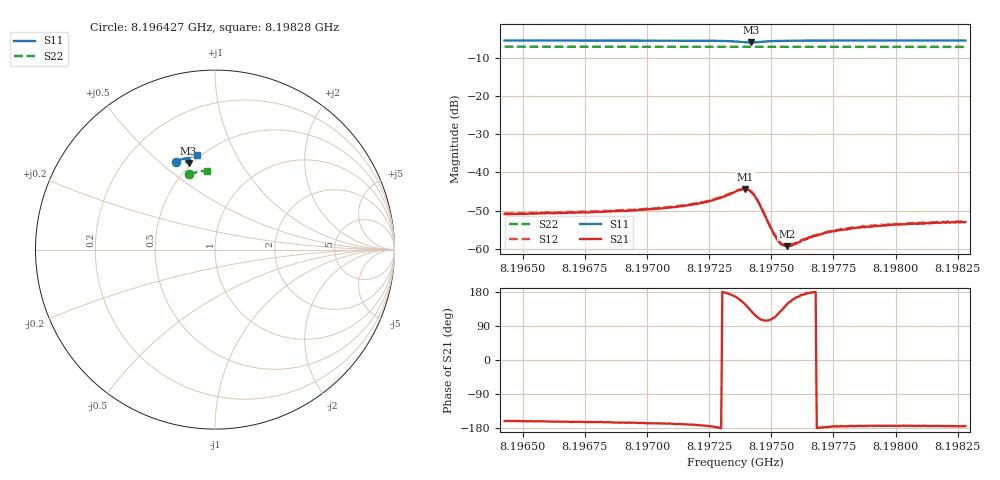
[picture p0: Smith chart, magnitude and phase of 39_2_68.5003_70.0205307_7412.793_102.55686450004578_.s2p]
#  HZ  S  RI  R  50.00
! Rohde & Schwarz Vector Network Analyzer
! Rohde-Schwarz,ZNB20-2Port,1311601062101988,3.16
! Created: UTC 3/20/2024, 4:50:15 PM
! freq[Hz]  re:S11  im:S11  re:S21  im:S21  re:S12  im:S12  re:S22  im:S22
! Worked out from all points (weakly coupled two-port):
!   401 points, 8.196427 GHz to 8.19828 GHz, reference 50 ohm
!   highest |S21| = -44.37 dB at 8.197396 GHz (marker M1); lowest = -59.3 dB at 8.197562 GHz (marker M2)
!   lowest |S11| = -5.9 dB at 8.197419 GHz (marker M3), VSWR 3.04, Z = 24 + j31.2 ohm
!   |S11| at or under -10 dB: nowhere
!   |S22| runs from -7.1 to -7.0 dB; largest |S21 - S12| = 0.0003
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8.1964273e9  -0.2189 0.4902  -0.0027 -0.000909  -0.00278 -0.000879  -0.1459 0.4203
8.1967377e9  -0.1977 0.4987  -0.00288 -0.000863  -0.00294 -0.00074  -0.1292 0.4252
8.1970481e9  -0.1746 0.5061  -0.00328 -0.000734  -0.0034 -0.000622  -0.1124 0.4296
8.1971547e9  -0.1655 0.5083  -0.0036 -0.000655  -0.00369 -0.000505  -0.1066 0.4308
8.1972334e9  -0.1575 0.5091  -0.00403 -0.000466  -0.00414 -0.000303  -0.1021 0.4318
8.197289e9  -0.1505 0.5082  -0.00457 -0.000127  -0.00466 9.34e-05  -0.0989 0.4324
8.1973539e9  -0.1404 0.5016  -0.00545 0.00117  -0.00549 0.00147  -0.0952 0.4327
8.197377e9  -0.1383 0.4953  -0.00546 0.00227  -0.00546 0.00256  -0.0939 0.4328
8.1973956e9  -0.1396 0.4889  -0.00503 0.00336  -0.00494 0.00365  -0.093 0.4329
8.1974187e9  -0.1473 0.483  -0.0035 0.00428  -0.00337 0.00455  -0.0919 0.4329
8.1974326e9  -0.1532 0.4832  -0.00245 0.00431  -0.00231 0.00443  -0.0914 0.4331
8.1974465e9  -0.158 0.4857  -0.00154 0.00389  -0.00143 0.00396  -0.0908 0.4334
8.1974975e9  -0.1613 0.4996  -0.000548 0.0018  -0.00051 0.00183  -0.0881 0.4343
8.1975206e9  -0.1594 0.5038  -0.000631 0.00121  -0.000611 0.00126  -0.0867 0.4344
8.1975392e9  -0.1575 0.5063  -0.000745 0.000875  -0.000731 0.000927  -0.0856 0.4347
8.1975623e9  -0.1549 0.5087  -0.0009 0.000599  -0.000904 0.000662  -0.0843 0.4349
8.1975855e9  -0.1525 0.5104  -0.00106 0.000392  -0.00107 0.00042  -0.083 0.4352
8.1976643e9  -0.145 0.5144  -0.00143 3.17e-05  -0.00146 0.000133  -0.0786 0.4359
8.1977338e9  -0.1388 0.5165  -0.00165 -0.000111  -0.00169 -1.04e-05  -0.0747 0.4365
8.1978172e9  -0.1322 0.5187  -0.0018 -0.00018  -0.00186 -0.000121  -0.07 0.4372
8.1979747e9  -0.1201 0.5216  -0.00203 -0.000216  -0.0021 -0.000112  -0.0612 0.4381
8.1982804e9  -0.0978 0.5261  -0.00223 -0.000213  -0.00229 -9.13e-05  -0.0439 0.4398
